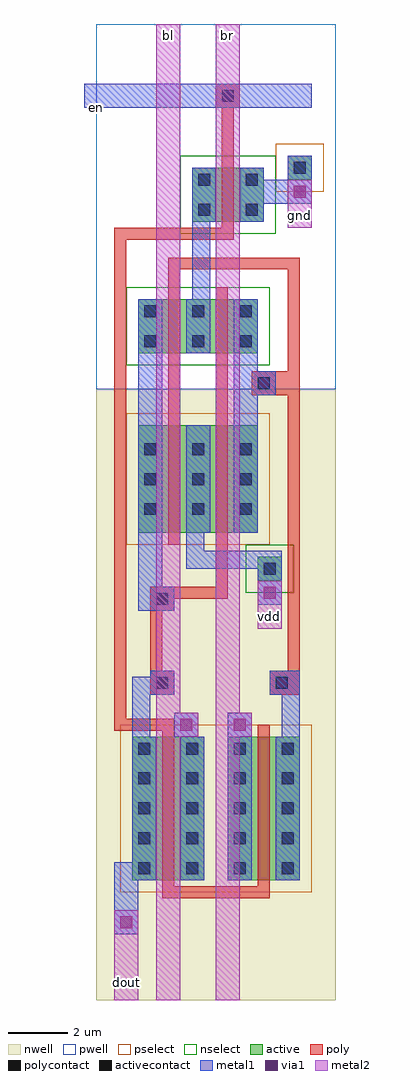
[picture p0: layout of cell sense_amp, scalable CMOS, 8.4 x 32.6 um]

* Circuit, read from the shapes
.subckt sense_amp bl br dout en gnd vdd
M1 n1 n2 dout gnd nfet w=1.8u l=0.4u
M2 n2 dout n1 gnd nfet w=1.8u l=0.4u
M3 gnd en n1 gnd nfet w=1.8u l=0.4u
M4 bl en dout vdd pfet w=4.8u l=0.4u
M5 vdd n2 dout vdd pfet w=3.6u l=0.4u
M6 n2 dout vdd vdd pfet w=3.6u l=0.4u
M7 n2 en br vdd pfet w=4.8u l=0.4u
.ends

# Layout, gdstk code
import gdstk
lib = gdstk.Library(unit=1e-6, precision=1e-09)
def R(c, l, rs):  # rectangles x0, y0, x1, y1
    for r in rs: c.add(gdstk.rectangle(r[:2], r[2:], *l))
def A(c, l, x, y, w, h, nx, ny, dx, dy):  # array of equal rectangles
    R(c, l, [(x+i*dx, y+j*dy, x+i*dx+w, y+j*dy+h) for i in range(nx) for j in range(ny)])
pwell = (41, 0)
nwell = (42, 0)
active = (43, 0)
pselect = (44, 0)
nselect = (45, 0)
poly = (46, 0)
polycontact = (47, 0)
activecontact = (48, 0)
metal1 = (49, 0)
via1 = (50, 0)
metal2 = (51, 0)

sense_amp = lib.new_cell('sense_amp')
R(sense_amp, pwell, [(0,20.4,8,32.6)])
R(sense_amp, nwell, [(0,0,8,20.4)])
R(sense_amp, active, [(1.2,4,3.6,8.8), (4.4,4,6.8,8.8), (5.4,14,6.2,14.8), (1.4,15.6,5.4,19.2), (1.4,21.6,5.4,23.4), (3.2,26,5.6,27.8), (6.4,27.4,7.2,28.2)])
R(sense_amp, pselect, [(0.8,3.6,7.2,9.2), (1,15.2,5.8,19.6), (6,27,7.6,28.6)])
R(sense_amp, nselect, [(5,13.6,6.6,15.2), (1,21.2,5.8,23.8), (2.8,25.6,6,28.2)])
R(sense_amp, poly, [(2.2,3.4,5.8,3.8), (2.2,3.8,2.6,9), (5.4,3.8,5.8,9.2), (0.6,9,2.6,9.4), (0.6,9.4,1,25.4), (1.8,10.2,2.6,11), (5.8,10.2,6.8,11), (1.8,11,2.2,13), (6.4,11,6.8,20.2), (1.8,13,2.6,13.4), (1.8,13.4,4.4,13.8), (4,13.8,4.4,23.8), (2.4,15.2,2.8,24.4), (5.2,20.2,6.8,21), (6.4,21,6.8,24.4), (2.4,24.4,6.8,24.8), (0.6,25.4,4.6,25.8), (4.2,25.8,4.6,29.8), (4,29.8,4.8,30.6)])
R(sense_amp, polycontact, [(2,10.4,2.4,10.8), (6,10.4,6.4,10.8), (2,13.2,2.4,13.6), (5.4,20.4,5.8,20.8), (4.2,30,4.6,30.4)])
A(sense_amp, activecontact, 1.4, 4.2, 0.4, 0.4, 4, 5, 1.6, 1)
A(sense_amp, activecontact, 1.6, 16.2, 0.4, 0.4, 3, 3, 1.6, 1)
A(sense_amp, activecontact, 1.6, 21.8, 0.4, 0.4, 3, 2, 1.6, 1)
R(sense_amp, activecontact, [(5.6,14.2,6,14.6), (3.4,26.2,3.8,26.6), (5,26.2,5.4,26.6), (3.4,27.2,3.8,27.6), (5,27.2,5.4,27.6), (6.6,27.6,7,28)])
R(sense_amp, metal1, [(0.6,2.2,1.4,4), (0.6,4,2,4.6), (2.8,4,3.6,8.8), (4.4,4,5.2,9.6), (6,4,6.8,8.8), (1.2,4.6,2,8.8), (1.2,8.8,1.8,10.2), (2.6,8.8,3.4,9.6), (6.2,8.8,6.8,10.2), (1.2,10.2,2.6,10.8), (5.8,10.2,6.8,11), (1.8,10.8,2.6,11), (1.4,13,2.6,13.8), (5.4,13.2,6.2,14.4), (1.4,13.8,2.2,23.4), (3,14.4,6.2,15), (3,15,3.6,15.6), (3,15.6,3.8,19.2), (4.6,15.6,5.4,20.2), (4.6,20.2,6,21), (4.6,21,5.4,23.4), (3,21.6,3.8,23.4), (3.2,23.4,3.8,26), (3.2,26,4,27.8), (4.8,26,5.6,26.6), (4.8,26.6,7.2,27.4), (4.8,27.4,5.6,27.8), (6.4,27.4,7.2,28.2), (-0.4,29.8,7.2,30.6)])
R(sense_amp, via1, [(0.8,2.4,1.2,2.8), (2.8,9,3.2,9.4), (4.6,9,5,9.4), (5.6,13.4,6,13.8), (6.6,26.8,7,27.2)])
R(sense_amp, metal2, [(0.6,0,1.4,3), (2,0,2.8,8.8), (4,0,4.8,8.8), (2,8.8,3.4,9.6), (4,8.8,5.2,9.6), (2,9.6,2.8,32.6), (4,9.6,4.8,32.6), (5.4,12.4,6.2,14), (6.4,25.8,7.2,27.4)])
sense_amp.add(gdstk.Label('en', (0,29.8), layer=49, texttype=0))
sense_amp.add(gdstk.Label('gnd', (6.8,26.2), layer=51, texttype=0))
sense_amp.add(gdstk.Label('vdd', (5.8,12.8), layer=51, texttype=0))
sense_amp.add(gdstk.Label('bl', (2.4,32.2), layer=51, texttype=0))
sense_amp.add(gdstk.Label('br', (4.4,32.2), layer=51, texttype=0))
sense_amp.add(gdstk.Label('dout', (1,0.6), layer=51, texttype=0))

lib.write_gds('sense_amp.gds')
